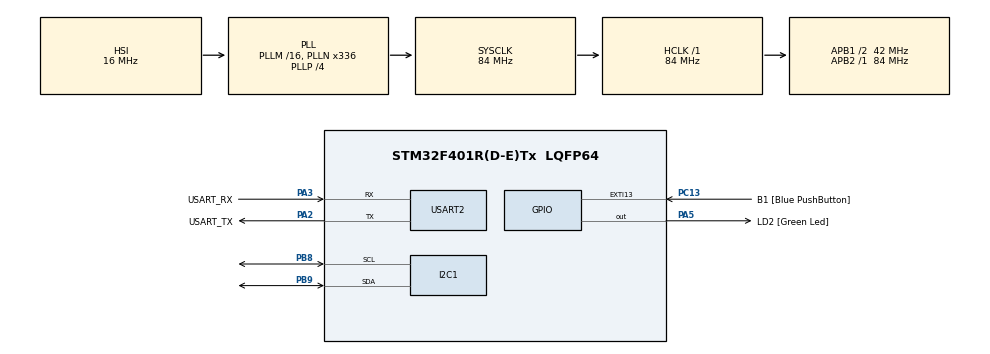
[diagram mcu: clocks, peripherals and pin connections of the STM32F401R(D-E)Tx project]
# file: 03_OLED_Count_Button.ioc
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Mcu.Family=STM32F4
Mcu.Name=STM32F401R(D-E)Tx
Mcu.Package=LQFP64
NVIC.EXTI15_10_IRQn=true\:0\:0\:false\:false\:true\:true\:true\:true
NVIC.PriorityGroup=NVIC_PRIORITYGROUP_4
PA13.GPIO_Label=TMS
PA13.Mode=Trace_Asynchronous_SW
PA13.Signal=SYS_JTMS-SWDIO
PA14.GPIO_Label=TCK
PA14.Mode=Trace_Asynchronous_SW
PA14.Signal=SYS_JTCK-SWCLK
PA2.GPIO_Label=USART_TX
PA2.GPIO_Mode=GPIO_MODE_AF_PP
PA2.GPIO_PuPd=GPIO_NOPULL
PA2.GPIO_Speed=GPIO_SPEED_FREQ_LOW
PA2.Mode=Asynchronous
PA2.Signal=USART2_TX
PA3.GPIO_Label=USART_RX
PA3.GPIO_Mode=GPIO_MODE_AF_PP
PA3.GPIO_PuPd=GPIO_NOPULL
PA3.GPIO_Speed=GPIO_SPEED_FREQ_LOW
PA3.Mode=Asynchronous
PA3.Signal=USART2_RX
PA5.GPIO_Label=LD2 [Green Led]
PA5.GPIO_Mode=GPIO_MODE_OUTPUT_PP
PA5.GPIO_PuPd=GPIO_NOPULL
PA5.GPIO_Speed=GPIO_SPEED_FREQ_LOW
PA5.Signal=GPIO_Output
PB3.GPIO_Label=SWO
PB3.Mode=Trace_Asynchronous_SW
PB3.Signal=SYS_JTDO-SWO
PB8.Mode=I2C
PB8.Signal=I2C1_SCL
PB9.Mode=I2C
PB9.Signal=I2C1_SDA
PC13-ANTI_TAMP.GPIO_Label=B1 [Blue PushButton]
PC13-ANTI_TAMP.GPIO_ModeDefaultEXTI=GPIO_MODE_IT_FALLING
PC13-ANTI_TAMP.GPIO_PuPd=GPIO_NOPULL
PC13-ANTI_TAMP.Signal=GPXTI13
PC14-OSC32_IN.Mode=LSE-External-Oscillator
PC14-OSC32_IN.Signal=RCC_OSC32_IN
PC15-OSC32_OUT.Mode=LSE-External-Oscillator
PC15-OSC32_OUT.Signal=RCC_OSC32_OUT
PH0\ -\ OSC_IN.Mode=HSE-External-Clock-Source
PH0\ -\ OSC_IN.Signal=RCC_OSC_IN
PH1\ -\ OSC_OUT.Mode=HSE-External-Clock-Source
PH1\ -\ OSC_OUT.Signal=RCC_OSC_OUT
ProjectManager.HeapSize=0x200
ProjectManager.StackSize=0x400
ProjectManager.TargetToolchain=STM32CubeIDE
RCC.48MHZClocksFreq_Value=48000000
RCC.AHBFreq_Value=84000000
RCC.APB1CLKDivider=RCC_HCLK_DIV2
RCC.APB1Freq_Value=42000000
RCC.APB1TimFreq_Value=84000000
RCC.APB2Freq_Value=84000000
RCC.APB2TimFreq_Value=84000000
RCC.CortexFreq_Value=84000000
RCC.HCLKFreq_Value=84000000
RCC.HSE_VALUE=8000000
RCC.HSI_VALUE=16000000
RCC.PLLN=336
RCC.PLLP=RCC_PLLP_DIV4
RCC.PLLQ=7
RCC.SYSCLKFreq_VALUE=84000000
RCC.SYSCLKSource=RCC_SYSCLKSOURCE_PLLCLK
RCC.VCOOutputFreq_Value=336000000
USART2.VirtualMode=VM_ASYNC
board=NUCLEO-F401RE

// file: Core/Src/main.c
/* USER CODE BEGIN Header */
/**
  ******************************************************************************
  * @file           : main.c
  * @brief          : Main program body
  ******************************************************************************
  * @attention
  *
  * Copyright (c) 2026 STMicroelectronics.
  * All rights reserved.
  *
  * This software is licensed under terms that can be found in the LICENSE file
  * in the root directory of this software component.
  * If no LICENSE file comes with this software, it is provided AS-IS.
  *
  ******************************************************************************
  */
/* USER CODE END Header */
#include "main.h"

/* USER CODE BEGIN Includes */
#include "stdio.h"
#include "fonts.h"
#include "ssd1306.h"
/* USER CODE END Includes */

I2C_HandleTypeDef hi2c1;

UART_HandleTypeDef huart2;

/* USER CODE BEGIN PV */
volatile uint32_t g_button_count = 0; // g for global
char display_buffer[20];
/* USER CODE END PV */

void SystemClock_Config(void);
static void MX_GPIO_Init(void);
static void MX_USART2_UART_Init(void);
static void MX_I2C1_Init(void);

int main(void)
{

  /* MCU Configuration--------------------------------------------------------*/

  /* Reset of all peripherals, Initializes the Flash interface and the Systick. */
  HAL_Init();

  /* Configure the system clock */
  SystemClock_Config();

  /* Initialize all configured peripherals */
  MX_GPIO_Init();
  MX_USART2_UART_Init();
  MX_I2C1_Init();
  /* USER CODE BEGIN 2 */
  uint32_t last_g_button_count = g_button_count;

  // Init lcd using one of the stm32HAL i2c typedefs
    if (ssd1306_Init(&hi2c1) != 0) {
      Error_Handler();
    }
    HAL_Delay(1000);

    ssd1306_Fill(Black);
    ssd1306_UpdateScreen(&hi2c1);

    HAL_Delay(1000);

    // Write data to local screenbuffer
    ssd1306_SetCursor(0, 0);
    ssd1306_WriteString("ssd1306", Font_11x18, White);

    // Copy all data from local screenbuffer to the screen
    ssd1306_UpdateScreen(&hi2c1);

  /* USER CODE END 2 */

  /* Infinite loop */
  while (1)
  {

    /* USER CODE BEGIN 3 */
	  if(last_g_button_count != g_button_count)
	  {
		  last_g_button_count = g_button_count;

		  ssd1306_Fill(Black);
		  if(last_g_button_count % 10 == 0 && last_g_button_count != 0)
		  {
			  ssd1306_SetCursor(0, 0);
			  ssd1306_WriteString("Welcome to", Font_7x10, White);
			  ssd1306_SetCursor(0, 18);
			  ssd1306_WriteString("Ave Mujica's World", Font_7x10, White);
		  }
		  else
		  {
			  sprintf(display_buffer, "Count: %lu", last_g_button_count);	// convert int to char
			  ssd1306_SetCursor(0, 0);
			  ssd1306_WriteString(display_buffer, Font_11x18, White);
		  }

		  ssd1306_UpdateScreen(&hi2c1);	// update OLED
	  }

  }
  /* USER CODE END 3 */
}

void SystemClock_Config(void)
{
  RCC_OscInitTypeDef RCC_OscInitStruct = {0};
  RCC_ClkInitTypeDef RCC_ClkInitStruct = {0};

  /** Configure the main internal regulator output voltage
  */
  __HAL_RCC_PWR_CLK_ENABLE();
  __HAL_PWR_VOLTAGESCALING_CONFIG(PWR_REGULATOR_VOLTAGE_SCALE2);

  /** Initializes the RCC Oscillators according to the specified parameters
  * in the RCC_OscInitTypeDef structure.
  */
  RCC_OscInitStruct.OscillatorType = RCC_OSCILLATORTYPE_HSI;
  RCC_OscInitStruct.HSIState = RCC_HSI_ON;
  RCC_OscInitStruct.HSICalibrationValue = RCC_HSICALIBRATION_DEFAULT;
  RCC_OscInitStruct.PLL.PLLState = RCC_PLL_ON;
  RCC_OscInitStruct.PLL.PLLSource = RCC_PLLSOURCE_HSI;
  RCC_OscInitStruct.PLL.PLLM = 16;
  RCC_OscInitStruct.PLL.PLLN = 336;
  RCC_OscInitStruct.PLL.PLLP = RCC_PLLP_DIV4;
  RCC_OscInitStruct.PLL.PLLQ = 7;
  if (HAL_RCC_OscConfig(&RCC_OscInitStruct) != HAL_OK)
  {
    Error_Handler();
  }

  /** Initializes the CPU, AHB and APB buses clocks
  */
  RCC_ClkInitStruct.ClockType = RCC_CLOCKTYPE_HCLK|RCC_CLOCKTYPE_SYSCLK
                              |RCC_CLOCKTYPE_PCLK1|RCC_CLOCKTYPE_PCLK2;
  RCC_ClkInitStruct.SYSCLKSource = RCC_SYSCLKSOURCE_PLLCLK;
  RCC_ClkInitStruct.AHBCLKDivider = RCC_SYSCLK_DIV1;
  RCC_ClkInitStruct.APB1CLKDivider = RCC_HCLK_DIV2;
  RCC_ClkInitStruct.APB2CLKDivider = RCC_HCLK_DIV1;

  if (HAL_RCC_ClockConfig(&RCC_ClkInitStruct, FLASH_LATENCY_2) != HAL_OK)
  {
    Error_Handler();
  }
}

static void MX_I2C1_Init(void)
{

  hi2c1.Instance = I2C1;
  hi2c1.Init.ClockSpeed = 100000;
  hi2c1.Init.DutyCycle = I2C_DUTYCYCLE_2;
  hi2c1.Init.OwnAddress1 = 0;
  hi2c1.Init.AddressingMode = I2C_ADDRESSINGMODE_7BIT;
  hi2c1.Init.DualAddressMode = I2C_DUALADDRESS_DISABLE;
  hi2c1.Init.OwnAddress2 = 0;
  hi2c1.Init.GeneralCallMode = I2C_GENERALCALL_DISABLE;
  hi2c1.Init.NoStretchMode = I2C_NOSTRETCH_DISABLE;
  if (HAL_I2C_Init(&hi2c1) != HAL_OK)
  {
    Error_Handler();
  }

}

static void MX_USART2_UART_Init(void)
{

  huart2.Instance = USART2;
  huart2.Init.BaudRate = 115200;
  huart2.Init.WordLength = UART_WORDLENGTH_8B;
  huart2.Init.StopBits = UART_STOPBITS_1;
  huart2.Init.Parity = UART_PARITY_NONE;
  huart2.Init.Mode = UART_MODE_TX_RX;
  huart2.Init.HwFlowCtl = UART_HWCONTROL_NONE;
  huart2.Init.OverSampling = UART_OVERSAMPLING_16;
  if (HAL_UART_Init(&huart2) != HAL_OK)
  {
    Error_Handler();
  }

}

static void MX_GPIO_Init(void)
{
  GPIO_InitTypeDef GPIO_InitStruct = {0};

  /* GPIO Ports Clock Enable */
  __HAL_RCC_GPIOC_CLK_ENABLE();
  __HAL_RCC_GPIOH_CLK_ENABLE();
  __HAL_RCC_GPIOA_CLK_ENABLE();
  __HAL_RCC_GPIOB_CLK_ENABLE();

  /*Configure GPIO pin Output Level */
  HAL_GPIO_WritePin(LD2_GPIO_Port, LD2_Pin, GPIO_PIN_RESET);

  /*Configure GPIO pin : B1_Pin */
  GPIO_InitStruct.Pin = B1_Pin;
  GPIO_InitStruct.Mode = GPIO_MODE_IT_FALLING;
  GPIO_InitStruct.Pull = GPIO_NOPULL;
  HAL_GPIO_Init(B1_GPIO_Port, &GPIO_InitStruct);

  /*Configure GPIO pin : LD2_Pin */
  GPIO_InitStruct.Pin = LD2_Pin;
  GPIO_InitStruct.Mode = GPIO_MODE_OUTPUT_PP;
  GPIO_InitStruct.Pull = GPIO_NOPULL;
  GPIO_InitStruct.Speed = GPIO_SPEED_FREQ_LOW;
  HAL_GPIO_Init(LD2_GPIO_Port, &GPIO_InitStruct);

  /* EXTI interrupt init*/
  HAL_NVIC_SetPriority(EXTI15_10_IRQn, 0, 0);
  HAL_NVIC_EnableIRQ(EXTI15_10_IRQn);

}

/* USER CODE BEGIN 4 */
void HAL_GPIO_EXTI_Callback(uint16_t GPIO_Pin)
{
	if(GPIO_Pin == GPIO_PIN_13)
		g_button_count++;
}
/* USER CODE END 4 */

void Error_Handler(void)
{
  __disable_irq();
  while (1)
  {
  }
}
